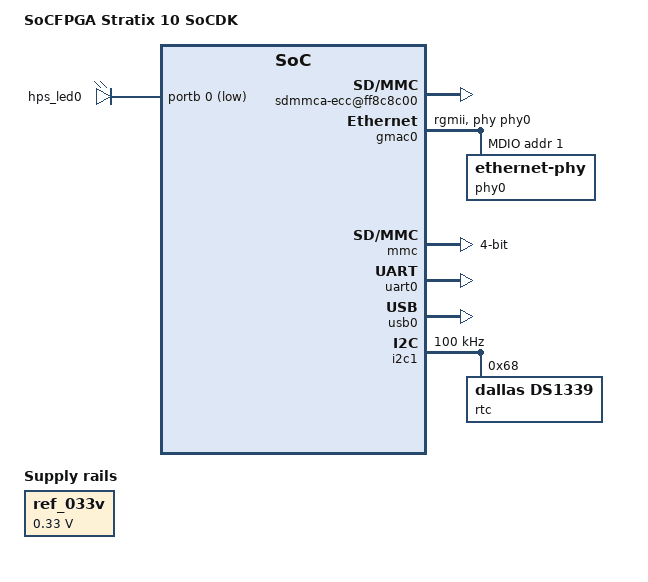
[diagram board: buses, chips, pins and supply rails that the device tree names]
// SPDX-License-Identifier: GPL-2.0-only
/*
 * Copyright Altera Corporation (C) 2015. All rights reserved.
 */

#include "socfpga_stratix10.dtsi"

/ {
	model = "SoCFPGA Stratix 10 SoCDK";

	aliases {
		serial0 = &uart0;
		ethernet0 = &gmac0;
	};

	chosen {
		stdout-path = "serial0:115200n8";
	};

	leds {
		compatible = "gpio-leds";
		hps0 {
			label = "hps_led0";
			gpios = <&portb 0 GPIO_ACTIVE_LOW>;
		};
	};

	memory {
		device_type = "memory";
		/* We expect the bootloader to fill in the reg */
		reg = <0 0 0 0>;
	};

	ref_033v: 033-v-ref {
		compatible = "regulator-fixed";
		regulator-name = "0.33V";
		regulator-min-microvolt = <330000>;
		regulator-max-microvolt = <330000>;
	};

	soc {
		clocks {
			osc1 {
				clock-frequency = <25000000>;
			};
		};

		eccmgr {
			sdmmca-ecc@ff8c8c00 {
				compatible = "altr,socfpga-s10-sdmmc-ecc",
					     "altr,socfpga-sdmmc-ecc";
				reg = <0xff8c8c00 0x100>;
				altr,ecc-parent = <&mmc>;
				interrupts = <14 4>,
					     <15 4>;
			};
		};
	};
};

&gpio0 {
	status = "okay";
};

&gpio1 {
	status = "okay";
};

&gmac0 {
	status = "okay";
	phy-mode = "rgmii";
	phy-handle = <&phy0>;

	max-frame-size = <9000>;

	mdio0 {
		#address-cells = <1>;
		#size-cells = <0>;
		compatible = "snps,dwmac-mdio";
		phy0: ethernet-phy@0 {
			reg = <1>;

			txd0-skew-ps = <0>; /* -420ps */
			txd1-skew-ps = <0>; /* -420ps */
			txd2-skew-ps = <0>; /* -420ps */
			txd3-skew-ps = <0>; /* -420ps */
			rxd0-skew-ps = <420>; /* 0ps */
			rxd1-skew-ps = <420>; /* 0ps */
			rxd2-skew-ps = <420>; /* 0ps */
			rxd3-skew-ps = <420>; /* 0ps */
			txen-skew-ps = <0>; /* -420ps */
			txc-skew-ps = <900>; /* 0ps */
			rxdv-skew-ps = <420>; /* 0ps */
			rxc-skew-ps = <1680>; /* 780ps */
		};
	};
};

&mmc {
	status = "okay";
	cap-sd-highspeed;
	cap-mmc-highspeed;
	broken-cd;
	bus-width = <4>;
};

&uart0 {
	status = "okay";
};

&usb0 {
	status = "okay";
	disable-over-current;
};

&i2c1 {
	status = "okay";
	clock-frequency = <100000>;
	i2c-sda-falling-time-ns = <890>;  /* hcnt */
	i2c-sdl-falling-time-ns = <890>;  /* lcnt */

	rtc@68 {
		compatible = "dallas,ds1339";
		reg = <0x68>;
	};
};
